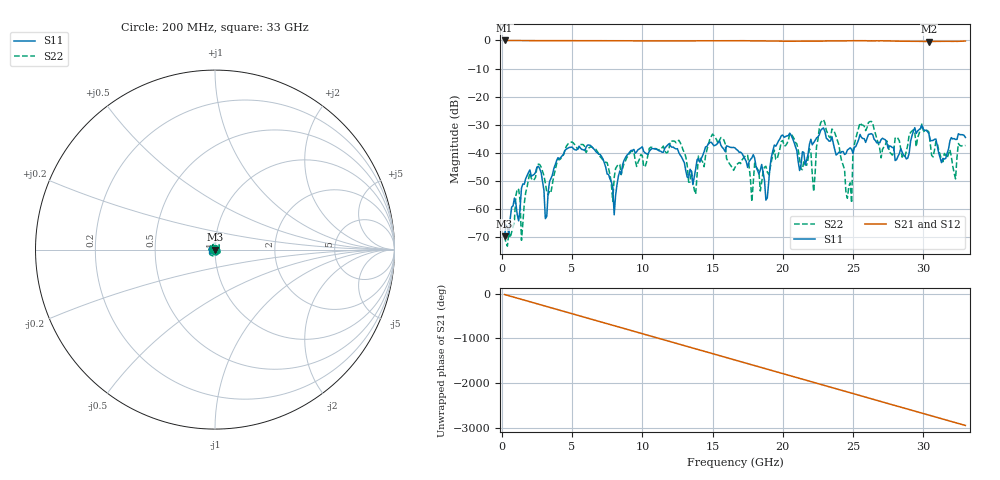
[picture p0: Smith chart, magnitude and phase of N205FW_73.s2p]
# GHZ S RI R 50
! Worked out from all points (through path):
!   329 points, 200 MHz to 33 GHz, reference 50 ohm
!   highest |S21| = -0.02 dB at 200 MHz (marker M1); lowest = -0.4 dB at 30.4 GHz (marker M2)
!   group delay of S21, straight-line fit = 248 ps
!   lowest |S11| = -69.6 dB at 200 MHz (marker M3), VSWR 1.00, Z = 50 + j0.0129 ohm
!   |S11| at or under -10 dB: start of sweep to end of sweep
!   |S22| runs from -73.1 to -28.1 dB; largest |S21 - S12| = 0.0022
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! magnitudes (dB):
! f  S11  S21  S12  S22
! 200 MHz  -69.6  0.0  0.0  -69.6
! 1.1 GHz  -62.0  -0.1  -0.1  -52.7
! 1.4 GHz  -52.5  -0.1  -0.1  -71.1
! 2 GHz  -46.0  -0.1  -0.1  -47.0
! 3.1 GHz  -63.3  -0.1  -0.1  -50.7
! 4 GHz  -41.7  -0.1  -0.1  -42.2
! 5.7 GHz  -38.8  -0.1  -0.1  -37.0
! 8 GHz  -62.0  -0.1  -0.1  -48.7
! 8.9 GHz  -40.8  -0.1  -0.1  -41.6
! 11.2 GHz  -39.3  -0.2  -0.2  -38.8
! 16.6 GHz  -38.2  -0.1  -0.1  -45.1
! 18.8 GHz  -56.8  -0.2  -0.2  -44.7
! 19.9 GHz  -33.8  -0.3  -0.3  -35.9
! 22.1 GHz  -37.1  -0.3  -0.3  -47.6
! 22.9 GHz  -31.1  -0.3  -0.2  -28.1
! 24.9 GHz  -38.7  -0.1  -0.1  -57.7
! 25 GHz  -40.2  -0.1  -0.1  -39.2
! 25.5 GHz  -33.4  -0.1  -0.1  -29.3
! 27.6 GHz  -37.5  -0.2  -0.2  -39.7
! 30.4 GHz  -33.1  -0.4  -0.4  -32.6
! 32.3 GHz  -35.2  -0.3  -0.3  -49.2
! 33 GHz  -34.5  -0.2  -0.2  -37.3
